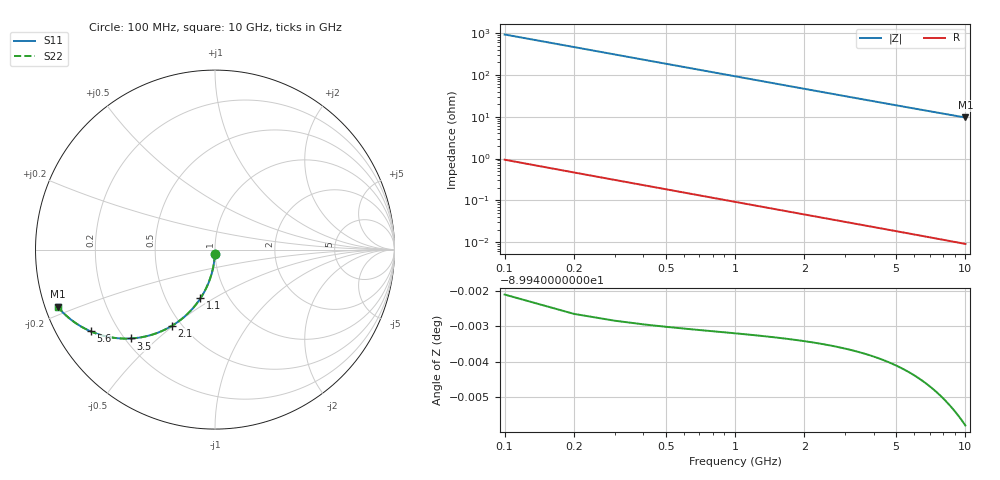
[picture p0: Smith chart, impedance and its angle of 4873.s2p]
# Hz S RI R 50.00
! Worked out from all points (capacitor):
!   100 points, 100 MHz to 10 GHz, reference 50 ohm
!   read as one part in shunt: C = 1.72 pF near 100 MHz
!   lowest |Z| = 9.58 ohm at 10 GHz (marker M1)
!   S11 on the Smith chart (normalised r, x): 100 MHz: 1.00, -0.05; 1.1 GHz: 0.74, -0.44; 2.1 GHz: 0.44, -0.49; 3.5 GHz: 0.22, -0.41; 5.6 GHz: 0.10, -0.30; 10 GHz: 0.04, -0.18
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1e8  -0.000738 -0.0268  0.9992 -0.027  0.9992 -0.027  -0.000738 -0.0268
2e8  -0.00294 -0.0536  0.997 -0.0539  0.997 -0.0539  -0.00294 -0.0536
3e8  -0.00656 -0.08  0.9934 -0.0806  0.9934 -0.0806  -0.00656 -0.08
4e8  -0.0116 -0.1062  0.9884 -0.1069  0.9884 -0.1069  -0.0116 -0.1062
5e8  -0.0179 -0.1318  0.982 -0.1328  0.982 -0.1328  -0.0179 -0.1318
6e8  -0.0256 -0.1569  0.9744 -0.1581  0.9744 -0.1581  -0.0256 -0.1569
7e8  -0.0345 -0.1814  0.9655 -0.1827  0.9655 -0.1827  -0.0345 -0.1814
9e8  -0.0557 -0.228  0.9443 -0.2297  0.9443 -0.2297  -0.0557 -0.228
1.1e9  -0.0809 -0.2711  0.9191 -0.2732  0.9191 -0.2732  -0.0809 -0.2711
1.4e9  -0.1246 -0.3284  0.8754 -0.3311  0.8754 -0.3311  -0.1246 -0.3284
1.8e9  -0.1901 -0.3902  0.8098 -0.3936  0.8098 -0.3936  -0.1901 -0.3902
2.1e9  -0.2419 -0.4258  0.758 -0.4298  0.758 -0.4298  -0.2419 -0.4258
2.7e9  -0.3448 -0.4722  0.6551 -0.4774  0.6551 -0.4774  -0.3448 -0.4722
3.4e9  -0.4543 -0.4941  0.5456 -0.5007  0.5456 -0.5007  -0.4543 -0.4941
3.5e9  -0.4687 -0.4951  0.5313 -0.5019  0.5313 -0.5019  -0.4687 -0.4951
4.3e9  -0.5705 -0.4903  0.4294 -0.4987  0.4294 -0.4987  -0.5705 -0.4903
5.1e9  -0.651 -0.4712  0.3489 -0.4811  0.3489 -0.4811  -0.651 -0.4712
5.6e9  -0.692 -0.4557  0.3079 -0.4666  0.3079 -0.4666  -0.692 -0.4557
6.7e9  -0.7625 -0.4184  0.2373 -0.4316  0.2373 -0.4316  -0.7625 -0.4184
7.5e9  -0.8009 -0.3914  0.199 -0.4062  0.199 -0.4062  -0.8009 -0.3914
8.4e9  -0.8345 -0.3626  0.1653 -0.3794  0.1653 -0.3794  -0.8345 -0.3626
1e10  -0.8774 -0.3174  0.1224 -0.3374  0.1224 -0.3374  -0.8774 -0.3174
